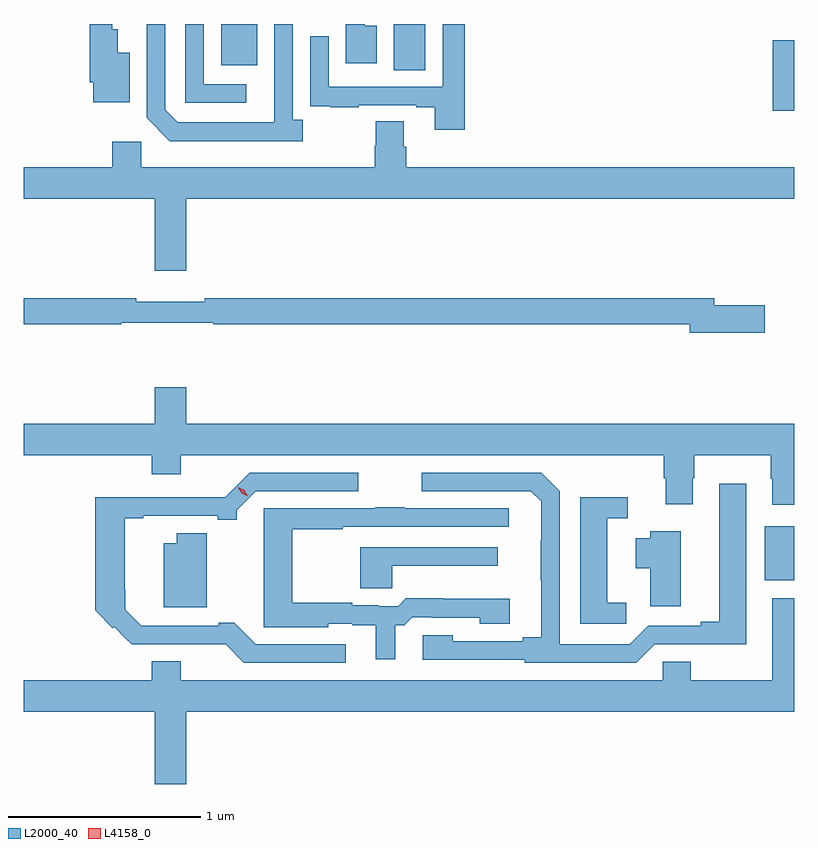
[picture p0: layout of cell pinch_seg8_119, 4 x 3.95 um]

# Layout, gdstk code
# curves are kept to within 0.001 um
import gdstk
lib = gdstk.Library(unit=1e-6, precision=1e-09)
def R(c, l, rs):  # rectangles x0, y0, x1, y1
    for r in rs: c.add(gdstk.rectangle(r[:2], r[2:], *l))
def P(c, l, *ps):  # polygons
    for p in ps: c.add(gdstk.Polygon(p, *l))
L2000_40 = (2000, 40)
L4158_0 = (4158, 0)

pinch_seg8_119 = lib.new_cell('pinch_seg8_119')
R(pinch_seg8_119, L2000_40, [(1019.324,1119.848,1019.477,1120.129), (1019.366,1122.285,1019.477,1122.652), (1017.398,1122.496,1017.562,1122.736), (1016.501,1122.521,1016.689,1122.736)])
P(pinch_seg8_119, L2000_40, [(1016.926,1122.238),(1016.874,1122.238),(1016.874,1122.736),(1016.778,1122.736),(1016.777,1122.225),(1016.277,1122.225),(1016.211,1122.291),(1016.211,1122.736),(1016.115,1122.736),(1016.115,1122.249),(1016.236,1122.128),(1016.926,1122.128)],
  [(1016.026,1122.586),(1015.966,1122.586),(1015.966,1122.709),(1015.937,1122.709),(1015.937,1122.736),(1015.819,1122.736),(1015.819,1122.433),(1015.838,1122.433),(1015.838,1122.329),(1016.026,1122.329)],
  [(1017.767,1122.736),(1017.651,1122.736),(1017.651,1122.411),(1017.06,1122.411),(1017.06,1122.673),(1016.964,1122.673),(1016.964,1122.418),(1016.965,1122.418),(1016.965,1122.309),(1017.067,1122.309),(1017.067,1122.303),(1017.215,1122.303),(1017.215,1122.315),(1017.515,1122.315),(1017.515,1122.303),(1017.611,1122.303),(1017.611,1122.186),(1017.767,1122.186)],
  [(1017.31,1122.727),(1017.247,1122.727),(1017.247,1122.736),(1017.149,1122.736),(1017.149,1122.531),(1017.31,1122.531)],
  [(1016.632,1122.423),(1016.412,1122.423),(1016.412,1122.736),(1016.316,1122.736),(1016.316,1122.327),(1016.632,1122.327)],
  [(1016.32,1121.828),(1019.477,1121.828),(1019.477,1121.992),(1017.464,1121.992),(1017.464,1122.098),(1017.451,1122.098),(1017.451,1122.23),(1017.304,1122.23),(1017.304,1122.105),(1017.299,1122.105),(1017.299,1121.992),(1016.088,1121.992),(1016.088,1122.124),(1015.937,1122.124),(1015.937,1121.992),(1015.477,1121.992),(1015.477,1121.828),(1016.156,1121.828),(1016.156,1121.454),(1016.32,1121.454)],
  [(1019.323,1121.276),(1019.062,1121.276),(1019.062,1121.312),(1016.416,1121.312),(1016.416,1121.293),(1016.06,1121.293),(1016.06,1121.312),(1015.477,1121.312),(1015.477,1121.176),(1015.982,1121.176),(1015.982,1121.184),(1016.46,1121.184),(1016.46,1121.176),(1018.934,1121.176),(1018.934,1121.134),(1019.323,1121.134)],
  [(1016.156,1120.66),(1015.477,1120.66),(1015.477,1120.496),(1016.141,1120.496),(1016.141,1120.397),(1016.293,1120.397),(1016.293,1120.496),(1018.799,1120.496),(1018.799,1120.377),(1018.811,1120.377),(1018.811,1120.242),(1018.951,1120.242),(1018.951,1120.377),(1018.959,1120.377),(1018.959,1120.496),(1019.356,1120.496),(1019.356,1120.376),(1019.363,1120.376),(1019.363,1120.239),(1019.477,1120.239),(1019.477,1120.66),(1016.32,1120.66),(1016.32,1120.849),(1016.156,1120.849)],
  [(1018.752,1119.516),(1019.227,1119.515),(1019.227,1120.348),(1019.087,1120.348),(1019.087,1119.632),(1018.991,1119.632),(1018.991,1119.612),(1018.719,1119.612),(1018.623,1119.516),(1018.26,1119.516),(1018.26,1120.311),(1018.164,1120.407),(1017.543,1120.407),(1017.543,1120.311),(1018.11,1120.311),(1018.163,1120.258),(1018.163,1119.551),(1018.067,1119.551),(1018.067,1119.531),(1017.705,1119.531),(1017.705,1119.562),(1017.549,1119.562),(1017.549,1119.435),(1018.077,1119.435),(1018.077,1119.42),(1018.656,1119.42)],
  [(1017.148,1119.516),(1016.682,1119.516),(1016.57,1119.628),(1016.489,1119.628),(1016.489,1119.612),(1016.088,1119.612),(1016.005,1119.695),(1016.005,1119.802),(1016.002,1119.802),(1016.002,1120.17),(1016.098,1120.17),(1016.098,1120.182),(1016.483,1120.182),(1016.483,1120.162),(1016.583,1120.162),(1016.583,1120.212),(1016.682,1120.311),(1017.214,1120.311),(1017.214,1120.407),(1016.649,1120.407),(1016.522,1120.28),(1016.417,1120.28),(1016.417,1120.278),(1015.847,1120.278),(1015.847,1119.693),(1015.94,1119.599),(1015.947,1119.607),(1016.037,1119.516),(1016.525,1119.515),(1016.619,1119.42),(1017.148,1119.42)],
  [(1018.606,1119.731),(1018.507,1119.731),(1018.507,1120.17),(1018.612,1120.17),(1018.612,1120.28),(1018.367,1120.28),(1018.367,1119.622),(1018.606,1119.622)],
  [(1017.406,1119.614),(1017.452,1119.614),(1017.495,1119.657),(1017.595,1119.657),(1017.595,1119.654),(1017.844,1119.654),(1017.844,1119.623),(1018,1119.623),(1018,1119.751),(1017.653,1119.751),(1017.653,1119.754),(1017.46,1119.754),(1017.42,1119.714),(1017.32,1119.714),(1017.32,1119.717),(1017.183,1119.717),(1017.183,1119.73),(1016.871,1119.73),(1016.871,1120.113),(1017.134,1120.113),(1017.134,1120.125),(1017.994,1120.125),(1017.994,1120.221),(1017.455,1120.221),(1017.455,1120.226),(1017.301,1120.226),(1017.301,1120.221),(1016.723,1120.221),(1016.723,1119.605),(1017.057,1119.605),(1017.057,1119.621),(1017.183,1119.621),(1017.183,1119.614),(1017.305,1119.614),(1017.305,1119.438),(1017.406,1119.438)],
  [(1018.888,1120.102),(1018.73,1120.102),(1018.73,1120.065),(1018.655,1120.065),(1018.655,1119.91),(1018.73,1119.91),(1018.73,1119.714),(1018.888,1119.714)],
  [(1016.428,1120.093),(1016.27,1120.093),(1016.27,1120.039),(1016.204,1120.039),(1016.204,1119.707),(1016.428,1119.707)],
  [(1017.389,1119.923),(1017.937,1119.923),(1017.937,1120.02),(1017.223,1120.02),(1017.223,1119.807),(1017.389,1119.807)],
  [(1016.32,1119.164),(1019.477,1119.164),(1019.477,1119.754),(1019.363,1119.754),(1019.363,1119.328),(1018.941,1119.328),(1018.941,1119.426),(1018.794,1119.426),(1018.794,1119.328),(1016.293,1119.328),(1016.293,1119.427),(1016.141,1119.427),(1016.141,1119.328),(1015.477,1119.328),(1015.477,1119.164),(1016.156,1119.164),(1016.156,1118.79),(1016.32,1118.79)])
P(pinch_seg8_119, L4158_0, [(1016.64,1120.285),(1016.609,1120.3),(1016.591,1120.329),(1016.591,1120.33),(1016.591,1120.33),(1016.622,1120.315),(1016.64,1120.285),(1016.64,1120.285)])

lib.write_gds('pinch_seg8_119.gds')
